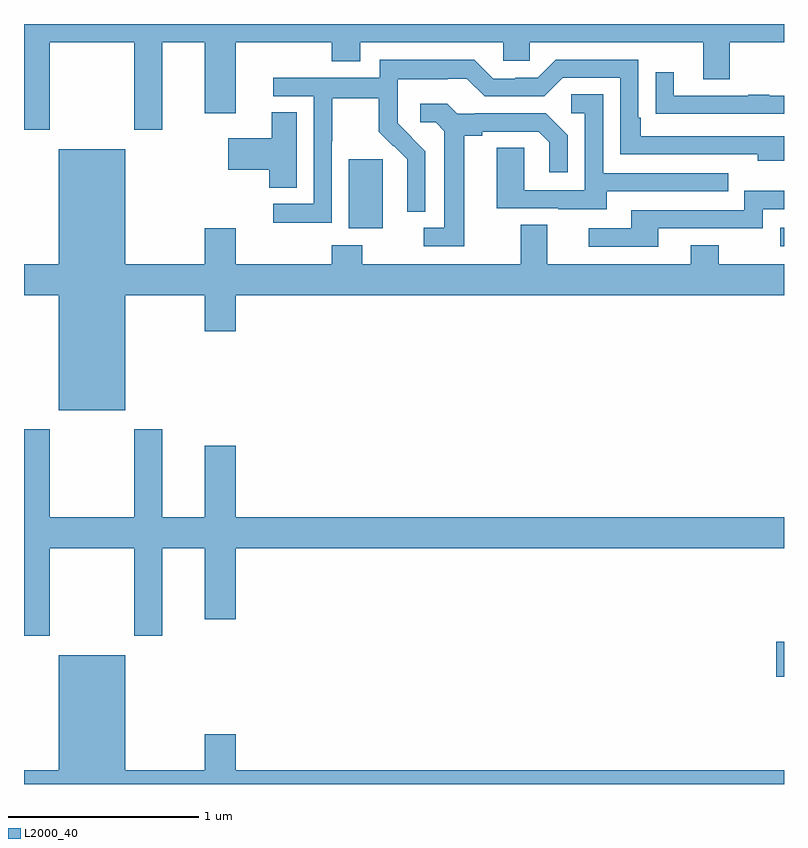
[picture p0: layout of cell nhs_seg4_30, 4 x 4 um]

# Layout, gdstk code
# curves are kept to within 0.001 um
import gdstk
lib = gdstk.Library(unit=1e-6, precision=1e-09)
def R(c, l, rs):  # rectangles x0, y0, x1, y1
    for r in rs: c.add(gdstk.rectangle(r[:2], r[2:], *l))
def P(c, l, *ps):  # polygons
    for p in ps: c.add(gdstk.Polygon(p, *l))
L2000_40 = (2000, 40)

nhs_seg4_30 = lib.new_cell('nhs_seg4_30')
R(nhs_seg4_30, L2000_40, [(114.96,809.465,115,809.648), (114.981,811.731,115,811.827), (112.709,811.826,112.888,812.187)])
P(nhs_seg4_30, L2000_40, [(111.135,812.804),(111.58,812.804),(111.58,812.343),(111.727,812.343),(111.727,812.804),(111.95,812.804),(111.95,812.43),(112.114,812.43),(112.114,812.804),(112.619,812.804),(112.619,812.705),(112.771,812.705),(112.771,812.804),(113.523,812.804),(113.523,812.706),(113.661,812.706),(113.661,812.804),(114.575,812.804),(114.575,812.61),(114.715,812.61),(114.715,812.804),(115,812.804),(115,812.9),(111,812.9),(111,812.343),(111.135,812.343)],
  [(112.62,812.284),(112.623,812.284),(112.623,812.508),(112.867,812.508),(112.867,812.333),(112.944,812.256),(112.947,812.259),(113.018,812.189),(113.018,812.066),(113.016,812.066),(113.016,811.912),(113.112,811.912),(113.112,812.23),(112.966,812.378),(112.966,812.475),(112.968,812.475),(112.968,812.609),(113.231,812.609),(113.231,812.613),(113.331,812.613),(113.424,812.52),(113.739,812.52),(113.835,812.616),(114.138,812.616),(114.138,812.214),(114.863,812.214),(114.863,812.18),(115,812.18),(115,812.31),(114.247,812.31),(114.247,812.407),(114.234,812.407),(114.234,812.712),(113.799,812.712),(113.703,812.616),(113.585,812.616),(113.585,812.613),(113.469,812.613),(113.369,812.713),(112.872,812.713),(112.872,812.616),(112.311,812.616),(112.311,812.52),(112.524,812.52),(112.524,811.953),(112.311,811.953),(112.311,811.855),(112.62,811.855)],
  [(115,812.523),(114.923,812.523),(114.923,812.528),(114.811,812.528),(114.811,812.523),(114.421,812.523),(114.421,812.647),(114.325,812.647),(114.325,812.428),(114.427,812.428),(114.427,812.427),(115,812.427)],
  [(114.067,812.019),(114.707,812.019),(114.707,812.115),(114.048,812.115),(114.048,812.531),(113.88,812.531),(113.88,812.43),(113.952,812.43),(113.952,812.025),(113.634,812.025),(113.634,812.249),(113.489,812.249),(113.489,811.929),(113.813,811.929),(113.813,811.925),(114.067,811.925)],
  [(113.317,812.312),(113.413,812.312),(113.413,812.334),(113.708,812.334),(113.765,812.277),(113.765,812.121),(113.862,812.121),(113.862,812.314),(113.746,812.43),(113.374,812.43),(113.374,812.427),(113.28,812.427),(113.228,812.479),(113.085,812.479),(113.085,812.382),(113.166,812.382),(113.213,812.335),(113.213,811.827),(113.103,811.827),(113.103,811.731),(113.317,811.731)],
  [(112.435,812.435),(112.304,812.435),(112.304,812.299),(112.074,812.299),(112.074,812.134),(112.292,812.134),(112.292,812.038),(112.435,812.038)],
  [(111.532,811.472),(111.95,811.472),(111.95,811.284),(112.114,811.284),(112.114,811.472),(115,811.472),(115,811.636),(114.657,811.636),(114.657,811.735),(114.509,811.735),(114.509,811.636),(113.755,811.636),(113.755,811.844),(113.615,811.844),(113.615,811.636),(112.779,811.636),(112.779,811.735),(112.619,811.735),(112.619,811.636),(112.114,811.636),(112.114,811.825),(111.95,811.825),(111.95,811.636),(111.532,811.636),(111.532,812.242),(111.182,812.242),(111.182,811.636),(111,811.636),(111,811.472),(111.182,811.472),(111.182,810.866),(111.532,810.866)],
  [(114.337,811.824),(114.888,811.824),(114.888,811.926),(115,811.926),(115,812.023),(114.792,812.023),(114.792,811.92),(114.197,811.92),(114.197,811.824),(113.973,811.824),(113.973,811.728),(114.337,811.728)],
  [(111.135,810.14),(111.58,810.14),(111.58,809.679),(111.727,809.679),(111.727,810.14),(111.95,810.14),(111.95,809.766),(112.114,809.766),(112.114,810.14),(115,810.14),(115,810.304),(112.114,810.304),(112.114,810.679),(111.95,810.679),(111.95,810.304),(111.727,810.304),(111.727,810.766),(111.58,810.766),(111.58,810.304),(111.135,810.304),(111.135,810.766),(111,810.766),(111,809.679),(111.135,809.679)],
  [(115,808.972),(112.114,808.972),(112.114,809.161),(111.95,809.161),(111.95,808.972),(111.532,808.972),(111.532,809.578),(111.182,809.578),(111.182,808.972),(111,808.972),(111,808.9),(115,808.9)])

lib.write_gds('nhs_seg4_30.gds')
